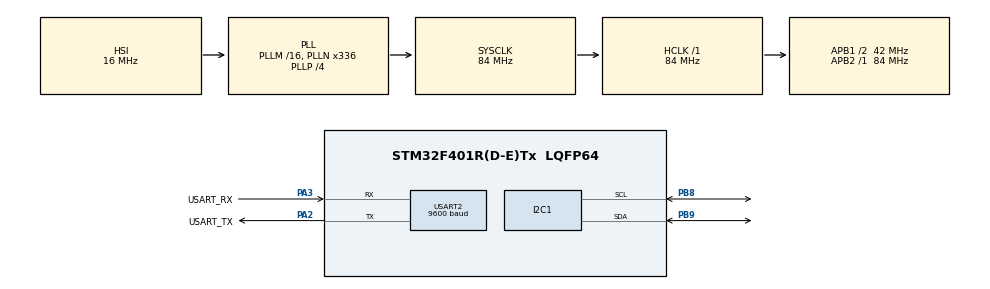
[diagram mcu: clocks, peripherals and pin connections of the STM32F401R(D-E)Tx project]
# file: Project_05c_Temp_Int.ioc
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Mcu.Family=STM32F4
Mcu.Name=STM32F401R(D-E)Tx
Mcu.Package=LQFP64
NVIC.PriorityGroup=NVIC_PRIORITYGROUP_4
NVIC.TIM1_UP_TIM10_IRQn=true\:0\:0\:false\:false\:true\:false\:true
NVIC.TIM3_IRQn=true\:0\:0\:false\:false\:true\:true\:true
NVIC.TimeBase=TIM1_UP_TIM10_IRQn
NVIC.TimeBaseIP=TIM1
PA13.GPIO_Label=TMS
PA13.Mode=Serial_Wire
PA13.Signal=SYS_JTMS-SWDIO
PA14.GPIO_Label=TCK
PA14.Mode=Serial_Wire
PA14.Signal=SYS_JTCK-SWCLK
PA2.GPIO_Label=USART_TX
PA2.GPIO_Mode=GPIO_MODE_AF_PP
PA2.GPIO_PuPd=GPIO_NOPULL
PA2.GPIO_Speed=GPIO_SPEED_FREQ_LOW
PA2.Mode=Asynchronous
PA2.Signal=USART2_TX
PA3.GPIO_Label=USART_RX
PA3.GPIO_Mode=GPIO_MODE_AF_PP
PA3.GPIO_PuPd=GPIO_NOPULL
PA3.GPIO_Speed=GPIO_SPEED_FREQ_LOW
PA3.Mode=Asynchronous
PA3.Signal=USART2_RX
PB3.GPIO_Label=SWO
PB3.Signal=SYS_JTDO-SWO
PB8.Mode=I2C
PB8.Signal=I2C1_SCL
PB9.Mode=I2C
PB9.Signal=I2C1_SDA
ProjectManager.HeapSize=0x200
ProjectManager.StackSize=0x400
ProjectManager.TargetToolchain=MDK-ARM V5
RCC.48MHZClocksFreq_Value=48000000
RCC.AHBFreq_Value=84000000
RCC.APB1CLKDivider=RCC_HCLK_DIV2
RCC.APB1Freq_Value=42000000
RCC.APB1TimFreq_Value=84000000
RCC.APB2Freq_Value=84000000
RCC.APB2TimFreq_Value=84000000
RCC.CortexFreq_Value=84000000
RCC.HCLKFreq_Value=84000000
RCC.HSE_VALUE=8000000
RCC.HSI_VALUE=16000000
RCC.LSE_VALUE=32768
RCC.PLLN=336
RCC.PLLP=RCC_PLLP_DIV4
RCC.PLLQ=7
RCC.SYSCLKFreq_VALUE=84000000
RCC.SYSCLKSource=RCC_SYSCLKSOURCE_PLLCLK
RCC.VCOOutputFreq_Value=336000000
TIM3.Period=42000-1
TIM3.Prescaler=2000-1
USART2.BaudRate=9600
USART2.VirtualMode=VM_ASYNC
VP_SYS_VS_tim1.Mode=TIM1
VP_TIM3_VS_ClockSourceINT.Mode=Internal
board=NUCLEO-F401RE

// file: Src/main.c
/* USER CODE BEGIN Header */
/**
  ******************************************************************************
  * @file           : main.c
  * @brief          : Main program body
  ******************************************************************************
  * @attention
  *
  * <h2><center>&copy; Copyright (c) 2019 STMicroelectronics.
  * All rights reserved.</center></h2>
  *
  * This software component is licensed by ST under BSD 3-Clause license,
  * the "License"; You may not use this file except in compliance with the
  * License. You may obtain a copy of the License at:
  *                        opensource.org/licenses/BSD-3-Clause
  *
  ******************************************************************************
  */
/* USER CODE END Header */

#include "main.h"

/* USER CODE BEGIN Includes */
#include "stdio.h"
#include "string.h"
/* USER CODE END Includes */

/* USER CODE BEGIN PD */
#define LM_75_ADDRESS 0x48
/* USER CODE END PD */

I2C_HandleTypeDef hi2c1;

TIM_HandleTypeDef htim3;

UART_HandleTypeDef huart2;

/* USER CODE BEGIN PV */
unsigned char temp_reg = 0x00;
unsigned char temperature[2];
float final_temp;
char string[20];
/* USER CODE END PV */

void SystemClock_Config(void);
static void MX_GPIO_Init(void);
static void MX_I2C1_Init(void);
static void MX_TIM3_Init(void);
static void MX_USART2_UART_Init(void);

int main(void)
{

  /* MCU Configuration--------------------------------------------------------*/

  /* Reset of all peripherals, Initializes the Flash interface and the Systick. */
  HAL_Init();

  /* Configure the system clock */
  SystemClock_Config();

  /* Initialize all configured peripherals */
  MX_GPIO_Init();
  MX_I2C1_Init();
  MX_TIM3_Init();
  MX_USART2_UART_Init();
  /* USER CODE BEGIN 2 */
	HAL_TIM_Base_Start_IT(&htim3);
  /* USER CODE END 2 */

  /* Infinite loop */
  while (1)
  {

  }
}

void SystemClock_Config(void)
{
  RCC_OscInitTypeDef RCC_OscInitStruct = {0};
  RCC_ClkInitTypeDef RCC_ClkInitStruct = {0};

  /** Configure the main internal regulator output voltage
  */
  __HAL_RCC_PWR_CLK_ENABLE();
  __HAL_PWR_VOLTAGESCALING_CONFIG(PWR_REGULATOR_VOLTAGE_SCALE2);
  /** Initializes the CPU, AHB and APB busses clocks
  */
  RCC_OscInitStruct.OscillatorType = RCC_OSCILLATORTYPE_HSI;
  RCC_OscInitStruct.HSIState = RCC_HSI_ON;
  RCC_OscInitStruct.HSICalibrationValue = RCC_HSICALIBRATION_DEFAULT;
  RCC_OscInitStruct.PLL.PLLState = RCC_PLL_ON;
  RCC_OscInitStruct.PLL.PLLSource = RCC_PLLSOURCE_HSI;
  RCC_OscInitStruct.PLL.PLLM = 16;
  RCC_OscInitStruct.PLL.PLLN = 336;
  RCC_OscInitStruct.PLL.PLLP = RCC_PLLP_DIV4;
  RCC_OscInitStruct.PLL.PLLQ = 7;
  if (HAL_RCC_OscConfig(&RCC_OscInitStruct) != HAL_OK)
  {
    Error_Handler();
  }
  /** Initializes the CPU, AHB and APB busses clocks
  */
  RCC_ClkInitStruct.ClockType = RCC_CLOCKTYPE_HCLK|RCC_CLOCKTYPE_SYSCLK
                              |RCC_CLOCKTYPE_PCLK1|RCC_CLOCKTYPE_PCLK2;
  RCC_ClkInitStruct.SYSCLKSource = RCC_SYSCLKSOURCE_PLLCLK;
  RCC_ClkInitStruct.AHBCLKDivider = RCC_SYSCLK_DIV1;
  RCC_ClkInitStruct.APB1CLKDivider = RCC_HCLK_DIV2;
  RCC_ClkInitStruct.APB2CLKDivider = RCC_HCLK_DIV1;

  if (HAL_RCC_ClockConfig(&RCC_ClkInitStruct, FLASH_LATENCY_2) != HAL_OK)
  {
    Error_Handler();
  }
}

static void MX_I2C1_Init(void)
{

  hi2c1.Instance = I2C1;
  hi2c1.Init.ClockSpeed = 100000;
  hi2c1.Init.DutyCycle = I2C_DUTYCYCLE_2;
  hi2c1.Init.OwnAddress1 = 0;
  hi2c1.Init.AddressingMode = I2C_ADDRESSINGMODE_7BIT;
  hi2c1.Init.DualAddressMode = I2C_DUALADDRESS_DISABLE;
  hi2c1.Init.OwnAddress2 = 0;
  hi2c1.Init.GeneralCallMode = I2C_GENERALCALL_DISABLE;
  hi2c1.Init.NoStretchMode = I2C_NOSTRETCH_DISABLE;
  if (HAL_I2C_Init(&hi2c1) != HAL_OK)
  {
    Error_Handler();
  }

}

static void MX_TIM3_Init(void)
{

  TIM_ClockConfigTypeDef sClockSourceConfig = {0};
  TIM_MasterConfigTypeDef sMasterConfig = {0};

  htim3.Instance = TIM3;
  htim3.Init.Prescaler = 2000-1;
  htim3.Init.CounterMode = TIM_COUNTERMODE_UP;
  htim3.Init.Period = 42000-1;
  htim3.Init.ClockDivision = TIM_CLOCKDIVISION_DIV1;
  htim3.Init.AutoReloadPreload = TIM_AUTORELOAD_PRELOAD_DISABLE;
  if (HAL_TIM_Base_Init(&htim3) != HAL_OK)
  {
    Error_Handler();
  }
  sClockSourceConfig.ClockSource = TIM_CLOCKSOURCE_INTERNAL;
  if (HAL_TIM_ConfigClockSource(&htim3, &sClockSourceConfig) != HAL_OK)
  {
    Error_Handler();
  }
  sMasterConfig.MasterOutputTrigger = TIM_TRGO_RESET;
  sMasterConfig.MasterSlaveMode = TIM_MASTERSLAVEMODE_DISABLE;
  if (HAL_TIMEx_MasterConfigSynchronization(&htim3, &sMasterConfig) != HAL_OK)
  {
    Error_Handler();
  }

}

static void MX_USART2_UART_Init(void)
{

  huart2.Instance = USART2;
  huart2.Init.BaudRate = 9600;
  huart2.Init.WordLength = UART_WORDLENGTH_8B;
  huart2.Init.StopBits = UART_STOPBITS_1;
  huart2.Init.Parity = UART_PARITY_NONE;
  huart2.Init.Mode = UART_MODE_TX_RX;
  huart2.Init.HwFlowCtl = UART_HWCONTROL_NONE;
  huart2.Init.OverSampling = UART_OVERSAMPLING_16;
  if (HAL_UART_Init(&huart2) != HAL_OK)
  {
    Error_Handler();
  }

}

static void MX_GPIO_Init(void)
{

  /* GPIO Ports Clock Enable */
  __HAL_RCC_GPIOA_CLK_ENABLE();
  __HAL_RCC_GPIOB_CLK_ENABLE();

}

void HAL_TIM_PeriodElapsedCallback(TIM_HandleTypeDef *htim)
{
  if (htim->Instance == TIM1) {
    HAL_IncTick();
  }
  /* USER CODE BEGIN Callback 1 */
	if (htim->Instance == TIM3) {
    HAL_I2C_Master_Transmit(&hi2c1, LM_75_ADDRESS<<1, &temp_reg, 1, 100);
		HAL_I2C_Master_Receive(&hi2c1, LM_75_ADDRESS<<1, temperature, 2, 100);
		final_temp = temperature[0]+(temperature[1]>>5)/8.000; // multiply by LSB (0.0125), or divide by 8
		sprintf(string, "%03.3f Celsius", final_temp);
		strcat(string, "\r\n");
		HAL_UART_Transmit(&huart2, (uint8_t *) string, strlen(string), 20);
  }
  /* USER CODE END Callback 1 */
}

void Error_Handler(void)
{
}

/************************ (C) COPYRIGHT STMicroelectronics *****END OF FILE****/
